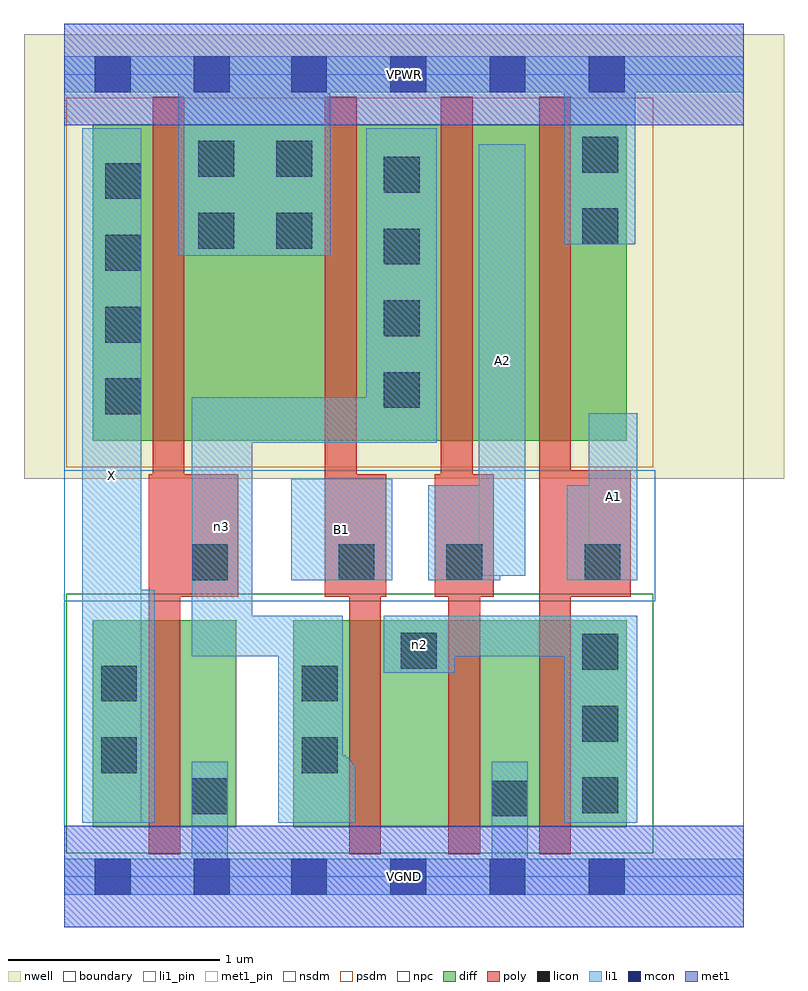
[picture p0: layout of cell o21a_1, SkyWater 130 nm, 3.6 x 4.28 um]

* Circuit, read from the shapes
.subckt o21a_1 A1 A2 B1 VGND VPWR X n2 n3
XM1 VGND n3 X VSUBS sky130_fd_pr__nfet_01v8 w=0.98 l=0.15
XM2 n2 B1 n3 VSUBS sky130_fd_pr__nfet_01v8 w=0.98 l=0.15
XM3 VGND A2 n2 VSUBS sky130_fd_pr__nfet_01v8 w=0.98 l=0.15
XM4 n2 A1 VGND VSUBS sky130_fd_pr__nfet_01v8 w=0.98 l=0.15
XM5 VPWR n3 X n1 sky130_fd_pr__pfet_01v8 w=1.5 l=0.15
XM6 n3 B1 VPWR n1 sky130_fd_pr__pfet_01v8 w=1.5 l=0.15
XM7 n4 A2 n3 n1 sky130_fd_pr__pfet_01v8 w=1.5 l=0.15
XM8 VPWR A1 n4 n1 sky130_fd_pr__pfet_01v8 w=1.5 l=0.15
.ends

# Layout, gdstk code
import gdstk
lib = gdstk.Library(unit=1e-6, precision=1e-09)
def R(c, l, rs):  # rectangles x0, y0, x1, y1
    for r in rs: c.add(gdstk.rectangle(r[:2], r[2:], *l))
def A(c, l, x, y, w, h, nx, ny, dx, dy):  # array of equal rectangles
    R(c, l, [(x+i*dx, y+j*dy, x+i*dx+w, y+j*dy+h) for i in range(nx) for j in range(ny)])
nwell = (64, 20)
diff = (65, 20)
poly = (66, 20)
licon = (66, 44)
li1_pin = (67, 16)
li1 = (67, 20)
mcon = (67, 44)
met1_pin = (68, 16)
met1 = (68, 20)
nsdm = (93, 44)
psdm = (94, 20)
npc = (95, 20)
boundary = (235, 4)

o21a_1 = lib.new_cell('o21a_1')
R(o21a_1, nwell, [(-0.19,1.885,3.41,3.99), (0,1.885,3.22,3.99)])
R(o21a_1, diff, [(0.135,0.235,0.815,1.215), (1.085,0.235,2.665,1.215), (0.135,2.065,2.665,3.565)])
R(o21a_1, poly, [(0.4,0.105,0.55,1.905), (1.35,0.105,1.5,1.905), (1.82,0.105,1.97,1.905), (2.25,0.105,2.4,3.695), (0.4,1.325,0.825,1.905), (0.42,1.325,0.57,3.695), (1.235,1.325,1.385,3.695), (1.235,1.325,1.525,1.905), (1.755,1.325,2.035,1.905), (1.785,1.325,1.935,3.695), (2.25,1.325,2.685,1.925)])
A(o21a_1, licon, 2.455, 0.3, 0.17, 0.17, 1, 3, 0, 0.34)
A(o21a_1, licon, 0.195, 2.19, 0.17, 0.17, 1, 4, 0, 0.34)
A(o21a_1, licon, 1.515, 2.22, 0.17, 0.17, 1, 4, 0, 0.34)
R(o21a_1, licon, [(2.025,0.285,2.195,0.455), (0.605,0.295,0.775,0.465), (0.175,0.49,0.345,0.66), (1.125,0.49,1.295,0.66), (0.175,0.83,0.345,1), (1.125,0.83,1.295,1), (1.595,0.985,1.765,1.155), (0.605,1.405,0.775,1.575), (1.3,1.405,1.47,1.575), (1.81,1.405,1.98,1.575), (2.465,1.405,2.635,1.575), (0.635,2.975,0.805,3.145), (1.005,2.975,1.175,3.145), (2.455,2.995,2.625,3.165), (0.635,3.315,0.805,3.485), (1.005,3.315,1.175,3.485), (2.455,3.335,2.625,3.505)])
R(o21a_1, li1_pin, [(0.085,0.255,0.365,3.545), (1.075,1.405,1.555,1.885), (2.485,1.405,2.715,2.195), (1.965,1.425,2.185,3.47)])
R(o21a_1, li1, [(0,-0.085,3.22,0.085), (0.605,-0.085,0.775,0.545), (2.025,-0.085,2.195,0.545), (0.085,0.255,0.365,3.545), (0.085,0.255,0.43,1.36), (1.015,0.255,1.32,1.235), (1.015,0.255,1.38,0.52), (1.015,0.255,1.355,0.555), (1.015,0.255,1.335,0.575), (1.015,0.255,1.37,0.535), (1.015,0.255,1.345,0.565), (1.015,0.255,1.36,0.55), (1.015,0.255,1.365,0.54), (1.015,0.255,1.375,0.525), (2.37,0.255,2.715,1.235), (1.515,0.965,1.85,1.235), (0.605,1.045,0.89,2.27), (0.605,1.045,1.32,1.235), (1.515,1.045,2.715,1.235), (1.075,1.405,1.555,1.885), (1.725,1.405,2.065,1.855), (2.38,1.405,2.715,1.855), (2.485,1.405,2.715,2.195), (1.965,1.425,2.185,3.47), (0.605,2.055,1.765,2.27), (1.43,2.055,1.765,3.545), (0.54,2.94,1.26,3.885), (2.37,2.995,2.705,3.885), (0,3.715,3.22,3.885)])
A(o21a_1, mcon, 1.075, -0.085, 0.17, 0.17, 4, 2, 0.47, 3.8)
R(o21a_1, mcon, [(0.145,-0.085,0.315,0.085), (0.615,-0.085,0.785,0.085), (0.145,3.715,0.315,3.885), (0.615,3.715,0.785,3.885)])
R(o21a_1, met1_pin, [(0,-0.24,3.22,0.24), (0,3.56,3.22,4.04)])
R(o21a_1, met1, [(0,-0.24,3.22,0.24), (0,3.56,3.22,4.04)])
R(o21a_1, nsdm, [(0.01,0.11,2.79,1.34)])
R(o21a_1, psdm, [(0.01,1.94,2.79,3.69)])
R(o21a_1, npc, [(0,1.305,2.8,1.925)])
R(o21a_1, boundary, [(0,0,3.22,3.8)])
o21a_1.add(gdstk.Label('A1', (2.6,1.8), layer=67, texttype=5))
o21a_1.add(gdstk.Label('A2', (2.075,2.447), layer=67, texttype=5))
o21a_1.add(gdstk.Label('B1', (1.315,1.645), layer=67, texttype=5))
o21a_1.add(gdstk.Label('X', (0.225,1.9), layer=67, texttype=5))
o21a_1.add(gdstk.Label('n2', (1.682,1.1), layer=67, texttype=5))
o21a_1.add(gdstk.Label('n3', (0.747,1.657), layer=67, texttype=5))
o21a_1.add(gdstk.Label('VPWR', (1.61,3.8), layer=68, texttype=5))
o21a_1.add(gdstk.Label('VGND', (1.61,0), layer=68, texttype=5))
o21a_1.add(gdstk.Label('A1', (2.6,1.8), layer=67, texttype=16))
o21a_1.add(gdstk.Label('A2', (2.075,2.447), layer=67, texttype=16))
o21a_1.add(gdstk.Label('B1', (1.315,1.645), layer=67, texttype=16))
o21a_1.add(gdstk.Label('X', (0.225,1.9), layer=67, texttype=16))
o21a_1.add(gdstk.Label('VPWR', (1.61,3.8), layer=68, texttype=16))
o21a_1.add(gdstk.Label('VGND', (1.61,0), layer=68, texttype=16))

lib.write_gds('o21a_1.gds')
